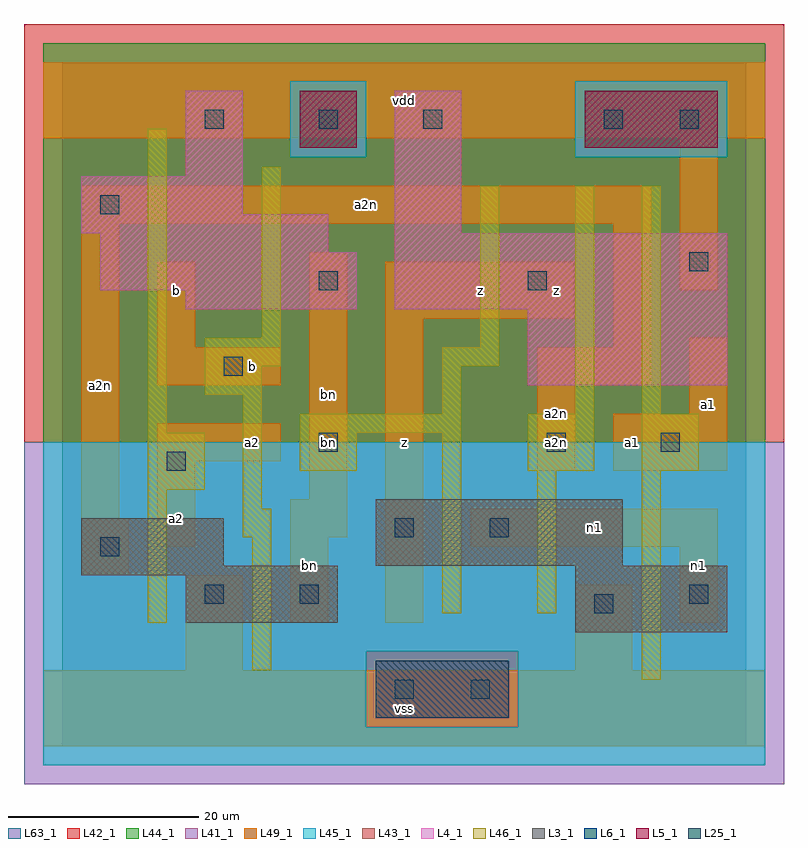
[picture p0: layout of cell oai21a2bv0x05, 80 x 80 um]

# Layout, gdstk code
import gdstk
lib = gdstk.Library(unit=1e-6, precision=1e-09)
def R(c, l, rs):  # rectangles x0, y0, x1, y1
    for r in rs: c.add(gdstk.rectangle(r[:2], r[2:], *l))
def A(c, l, x, y, w, h, nx, ny, dx, dy):  # array of equal rectangles
    R(c, l, [(x+i*dx, y+j*dy, x+i*dx+w, y+j*dy+h) for i in range(nx) for j in range(ny)])
L3_1 = (3, 1)
L4_1 = (4, 1)
L5_1 = (5, 1)
L6_1 = (6, 1)
L25_1 = (25, 1)
L41_1 = (41, 1)
L42_1 = (42, 1)
L43_1 = (43, 1)
L44_1 = (44, 1)
L45_1 = (45, 1)
L46_1 = (46, 1)
L49_1 = (49, 1)
L63_1 = (63, 1)

oai21a2bv0x05 = lib.new_cell('oai21a2bv0x05')
R(oai21a2bv0x05, L3_1, [(54,12,70,19), (13,13,29,18), (2,18,29,19), (2,19,17,24), (33,19,59,26)])
R(oai21a2bv0x05, L4_1, [(49,38,70,46), (13,46,31,48), (35,46,70,54), (4,48,31,52), (4,52,28,54), (2,54,28,56), (35,54,42,69), (2,56,19,60), (13,60,19,69)])
R(oai21a2bv0x05, L5_1, [(25,63,31,69), (55,63,69,69)])
R(oai21a2bv0x05, L6_1, [(33,3,47,9), (33,3,47,9)])
A(oai21a2bv0x05, L25_1, 27, 31, 2, 2, 1, 3, 0, 17)
R(oai21a2bv0x05, L25_1, [(35,5,37,7), (43,5,45,7), (56,14,58,16), (15,15,17,17), (25,15,27,17), (66,15,68,17), (4,20,6,22), (35,22,37,24), (45,22,47,24), (11,29,13,31), (51,31,53,33), (63,31,65,33), (17,39,19,41), (49,48,51,50), (66,50,68,52), (4,56,6,58), (15,65,17,67), (38,65,40,67), (57,65,59,67), (65,65,67,67)])
R(oai21a2bv0x05, L41_1, [(-4,-4,76,32)])
R(oai21a2bv0x05, L42_1, [(-4,32,76,76)])
R(oai21a2bv0x05, L43_1, [(33,3,47,9), (54,12,70,19), (13,13,29,18), (2,18,29,19), (2,19,17,24), (33,19,59,26), (49,38,70,46), (13,46,31,48), (35,46,70,54), (4,48,31,52), (4,52,28,54), (2,54,28,56), (35,54,42,69), (2,56,19,60), (13,60,19,69), (25,63,31,69), (55,63,69,69)])
R(oai21a2bv0x05, L44_1, [(32,2,48,10), (-2,32,74,62), (-2,62,24,70), (32,62,54,70), (70,62,74,70), (-2,70,74,74)])
R(oai21a2bv0x05, L45_1, [(-2,-2,74,2), (-2,2,32,10), (48,2,74,10), (-2,10,74,32), (24,62,32,70), (54,62,70,70)])
R(oai21a2bv0x05, L46_1, [(61,7,63,29), (20,8,22,22), (9,13,11,27), (40,14,42,33), (50,14,52,29), (19,22,22,25), (19,25,21,37), (9,27,15,33), (25,29,31,33), (49,29,56,35), (61,29,67,35), (9,33,11,65), (25,33,42,35), (40,35,42,40), (54,35,56,59), (61,35,63,59), (15,37,21,40), (15,40,23,43), (40,40,46,42), (44,42,46,59), (21,43,23,61)])
R(oai21a2bv0x05, L49_1, [(-2,0,74,8), (13,8,19,18), (54,8,60,17), (24,13,28,22), (34,13,38,45), (65,13,69,21), (2,18,7,24), (10,21,14,30), (43,21,69,25), (24,22,30,26), (2,24,6,55), (26,26,30,52), (50,29,54,38), (58,29,70,35), (10,30,23,34), (66,35,70,43), (10,38,23,42), (50,38,62,42), (10,42,14,51), (58,42,62,55), (34,45,54,51), (65,48,69,64), (2,55,62,59), (-2,64,74,72)])
R(oai21a2bv0x05, L63_1, [(0,0,72,72)])
oai21a2bv0x05.add(gdstk.Label('bn', (28,32), layer=49, texttype=1))
oai21a2bv0x05.add(gdstk.Label('a2n', (52,32), layer=49, texttype=1))
oai21a2bv0x05.add(gdstk.Label('a2', (12,24), layer=49, texttype=1))
oai21a2bv0x05.add(gdstk.Label('b', (12,48), layer=49, texttype=1))
oai21a2bv0x05.add(gdstk.Label('a2n', (4,38), layer=49, texttype=1))
oai21a2bv0x05.add(gdstk.Label('bn', (26,19), layer=49, texttype=1))
oai21a2bv0x05.add(gdstk.Label('a2', (20,32), layer=49, texttype=1))
oai21a2bv0x05.add(gdstk.Label('bn', (28,37), layer=49, texttype=1))
oai21a2bv0x05.add(gdstk.Label('b', (20,40), layer=49, texttype=1))
oai21a2bv0x05.add(gdstk.Label('vss', (36,4), layer=49, texttype=1))
oai21a2bv0x05.add(gdstk.Label('z', (36,32), layer=49, texttype=1))
oai21a2bv0x05.add(gdstk.Label('a2n', (52,35), layer=49, texttype=1))
oai21a2bv0x05.add(gdstk.Label('z', (44,48), layer=49, texttype=1))
oai21a2bv0x05.add(gdstk.Label('z', (52,48), layer=49, texttype=1))
oai21a2bv0x05.add(gdstk.Label('vdd', (36,68), layer=49, texttype=1))
oai21a2bv0x05.add(gdstk.Label('n1', (67,19), layer=49, texttype=1))
oai21a2bv0x05.add(gdstk.Label('n1', (56,23), layer=49, texttype=1))
oai21a2bv0x05.add(gdstk.Label('a1', (60,32), layer=49, texttype=1))
oai21a2bv0x05.add(gdstk.Label('a1', (68,36), layer=49, texttype=1))
oai21a2bv0x05.add(gdstk.Label('a2n', (32,57), layer=49, texttype=1))

lib.write_gds('oai21a2bv0x05.gds')
